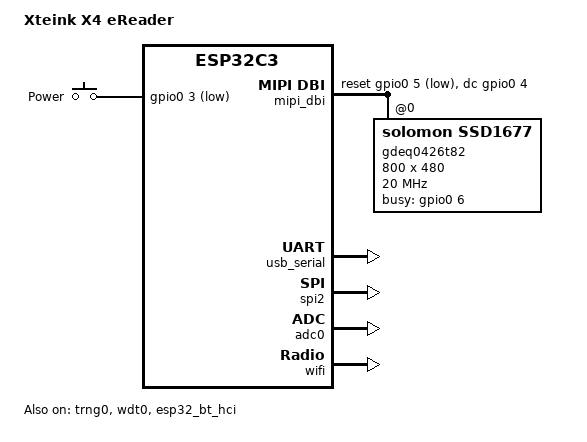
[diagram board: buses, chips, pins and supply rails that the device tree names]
/*
 * Copyright (c) 2026
 * SPDX-License-Identifier: Apache-2.0
 */

/dts-v1/;

#include <espressif/esp32c3/esp32c3_fx4.dtsi>
#include "xteink_x4-pinctrl.dtsi"
#include <zephyr/dt-bindings/input/input-event-codes.h>
#include <espressif/partitions_0x0_default.dtsi>

/ {
	model = "Xteink X4 eReader";
	compatible = "xteink,x4";

	chosen {
		zephyr,sram = &sram1;
		zephyr,console = &usb_serial;
		zephyr,shell-uart = &usb_serial;
		zephyr,flash = &flash0;
		zephyr,code-partition = &slot0_partition;
		zephyr,display = &gdeq0426t82;
		zephyr,bt-hci = &esp32_bt_hci;
	};

	aliases {
		sw0 = &button_power;
		watchdog0 = &wdt0;
	};

	gpio_keys {
		compatible = "gpio-keys";

		button_power: button_power {
			label = "Power";
			gpios = <&gpio0 3 (GPIO_PULL_UP | GPIO_ACTIVE_LOW)>;
			zephyr,code = <INPUT_KEY_POWER>;
		};
	};

	mipi_dbi {
		compatible = "zephyr,mipi-dbi-spi";
		spi-dev = <&spi2>;
		dc-gpios = <&gpio0 4 GPIO_ACTIVE_HIGH>;
		reset-gpios = <&gpio0 5 GPIO_ACTIVE_LOW>;
		#address-cells = <1>;
		#size-cells = <0>;

		gdeq0426t82: gdeq0426t82@0 {
			compatible = "solomon,ssd1677";
			reg = <0>;
			mipi-max-frequency = <DT_FREQ_M(20)>;
			width = <800>;
			height = <480>;
			busy-gpios = <&gpio0 6 GPIO_ACTIVE_HIGH>;
			tssv = <0x80>;
			softstart = [AE C7 C3 C0 40];
		};
	};
};

&flash0 {
	reg = <0x0 DT_SIZE_M(16)>;
};

&uart0 {
	status = "disabled";
};

&usb_serial {
	status = "okay";
};

&trng0 {
	status = "okay";
};

&spi2 {
	status = "okay";
	pinctrl-0 = <&spim2_default>;
	pinctrl-names = "default";
	cs-gpios = <&gpio0 21 GPIO_ACTIVE_LOW>;
};

&gpio0 {
	status = "okay";
};

&adc0 {
	status = "okay";
};

&wdt0 {
	status = "okay";
};

&esp32_bt_hci {
	status = "okay";
};

&wifi {
	status = "okay";
};
